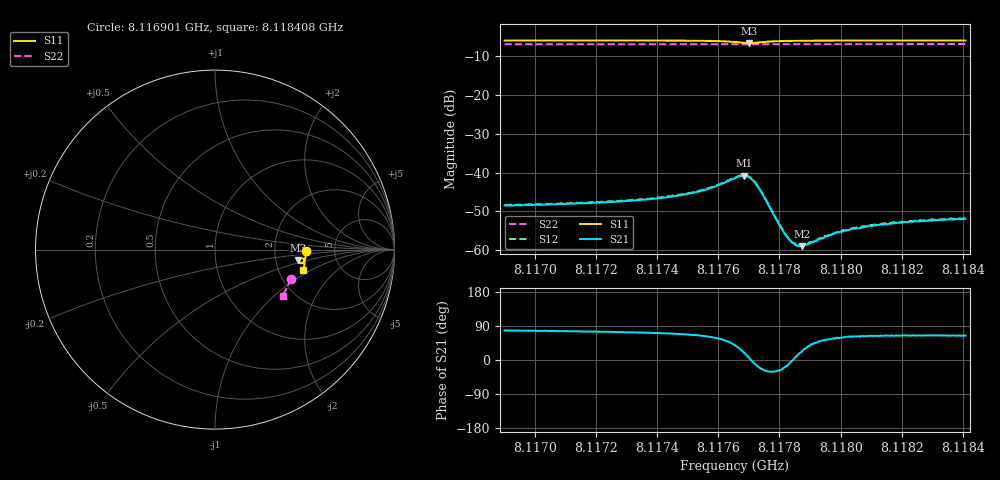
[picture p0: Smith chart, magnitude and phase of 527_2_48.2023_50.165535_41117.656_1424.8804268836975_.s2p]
#  HZ  S  RI  R  50.00
! Rohde & Schwarz Vector Network Analyzer
! Rohde-Schwarz,ZNB20-2Port,1311601062101988,3.16
! Created: UTC 3/20/2024, 11:59:43 AM
! freq[Hz]  re:S11  im:S11  re:S21  im:S21  re:S12  im:S12  re:S22  im:S22
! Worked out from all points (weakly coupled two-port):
!   401 points, 8.116901 GHz to 8.118408 GHz, reference 50 ohm
!   highest |S21| = -40.80 dB at 8.117685 GHz (marker M1); lowest = -59.0 dB at 8.117873 GHz (marker M2)
!   lowest |S11| = -6.6 dB at 8.1177 GHz (marker M3), VSWR 2.77, Z = 135 - j20.8 ohm
!   |S11| at or under -10 dB: nowhere
!   |S22| runs from -6.9 to -6.8 dB; largest |S21 - S12| = 0.00022
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8.1169007e9  0.5067 -0.00809  0.000794 0.0037  0.000831 0.00374  0.4212 -0.1619
8.1171532e9  0.5055 -0.0281  0.00102 0.00389  0.00107 0.00397  0.415 -0.1785
8.1174057e9  0.5024 -0.0495  0.00152 0.00446  0.0016 0.00453  0.4083 -0.1949
8.1174886e9  0.5004 -0.0578  0.00199 0.00485  0.00207 0.00491  0.406 -0.2003
8.1175452e9  0.4976 -0.0643  0.00256 0.00527  0.00262 0.00533  0.4042 -0.204
8.1175904e9  0.4933 -0.0701  0.00349 0.00568  0.00356 0.00573  0.4027 -0.2069
8.1176545e9  0.4782 -0.0758  0.00663 0.00538  0.00681 0.00545  0.4001 -0.2107
8.1176846e9  0.4672 -0.0684  0.00862 0.00296  0.00883 0.003  0.3989 -0.2122
8.1176997e9  0.4652 -0.0604  0.00869 0.000947  0.00889 0.000939  0.3985 -0.2127
8.1177148e9  0.4681 -0.0525  0.00777 -0.000892  0.00794 -0.000921  0.3983 -0.2132
8.1177336e9  0.4758 -0.0469  0.00584 -0.00207  0.00598 -0.00217  0.398 -0.2141
8.1178052e9  0.4949 -0.055  0.00175 -0.000844  0.00179 -0.000856  0.3966 -0.2191
8.1178278e9  0.4967 -0.0587  0.00139 -0.000298  0.00144 -0.00034  0.396 -0.2206
8.1178505e9  0.4977 -0.0622  0.00116 0.000125  0.00121 0.000107  0.3954 -0.2221
8.1178618e9  0.4981 -0.0638  0.00112 0.000305  0.0011 0.000244  0.3949 -0.2229
8.1178731e9  0.4984 -0.0653  0.00105 0.000416  0.00106 0.000456  0.3947 -0.2235
8.117907e9  0.4987 -0.0694  0.000954 0.000859  0.000938 0.00086  0.3935 -0.2257
8.1179861e9  0.4985 -0.0778  0.000873 0.00144  0.000879 0.00145  0.3909 -0.2308
8.1180314e9  0.4982 -0.0821  0.000899 0.00162  0.000897 0.00167  0.3894 -0.2336
8.1181595e9  0.4966 -0.0931  0.000961 0.00197  0.000966 0.00201  0.385 -0.2415
8.1182349e9  0.4955 -0.0993  0.000982 0.00211  0.00102 0.0021  0.3824 -0.2463
8.1184082e9  0.4926 -0.1125  0.00109 0.00229  0.00113 0.00234  0.3761 -0.2565
